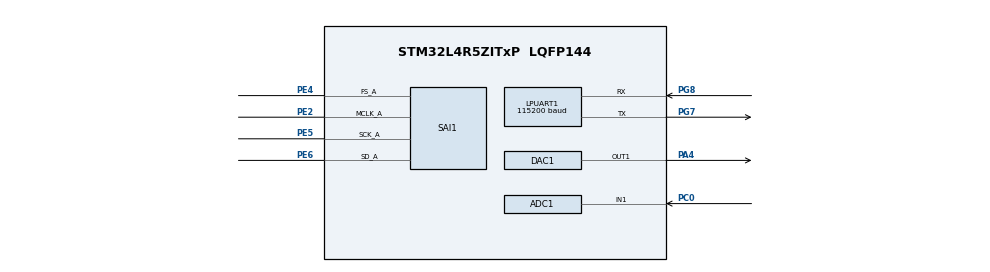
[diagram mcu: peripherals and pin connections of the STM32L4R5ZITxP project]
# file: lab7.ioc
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ADC1.Channel-0\#ChannelRegularConversion=ADC_CHANNEL_1
ADC1.ClockPrescaler=ADC_CLOCK_ASYNC_DIV2
ADC1.ExternalTrigConv=ADC_EXTERNALTRIG_T1_TRGO
ADC1.ExternalTrigConvEdge=ADC_EXTERNALTRIGCONVEDGE_RISING
ADC1.NbrOfConversionFlag=1
ADC1.OffsetNumber-0\#ChannelRegularConversion=ADC_OFFSET_NONE
ADC1.Rank-0\#ChannelRegularConversion=1
ADC1.SamplingTime-0\#ChannelRegularConversion=ADC_SAMPLETIME_640CYCLES_5
ADC1.master=1
Dma.ADC1.0.Direction=DMA_PERIPH_TO_MEMORY
Dma.ADC1.0.EventEnable=DISABLE
Dma.ADC1.0.Instance=DMA1_Channel1
Dma.ADC1.0.MemDataAlignment=DMA_MDATAALIGN_HALFWORD
Dma.ADC1.0.MemInc=DMA_MINC_ENABLE
Dma.ADC1.0.Mode=DMA_CIRCULAR
Dma.ADC1.0.PeriphDataAlignment=DMA_PDATAALIGN_HALFWORD
Dma.ADC1.0.PeriphInc=DMA_PINC_DISABLE
Dma.ADC1.0.Polarity=HAL_DMAMUX_REQUEST_GEN_RISING
Dma.ADC1.0.Priority=DMA_PRIORITY_VERY_HIGH
Dma.ADC1.0.RequestNumber=1
Dma.ADC1.0.SignalID=NONE
Dma.ADC1.0.SyncEnable=DISABLE
Dma.ADC1.0.SyncPolarity=HAL_DMAMUX_SYNC_NO_EVENT
Dma.ADC1.0.SyncRequestNumber=1
Dma.ADC1.0.SyncSignalID=NONE
Dma.Request0=ADC1
LPUART1.BaudRate=115200
LPUART1.WordLength=UART_WORDLENGTH_8B
Mcu.Family=STM32L4
Mcu.Name=STM32L4R5ZITxP
Mcu.Package=LQFP144
NVIC.DMA1_Channel1_IRQn=true\:0\:0\:false\:false\:true\:false\:true\:true
NVIC.PriorityGroup=NVIC_PRIORITYGROUP_4
PA0.Signal=S_TIM2_CH1
PA1.Signal=ADCx_IN6
PA10.Signal=USB_OTG_FS_ID
PA13\ (JTMS/SWDIO).Signal=SYS_JTMS-SWDIO
PA14\ (JTCK/SWCLK).Signal=SYS_JTCK-SWCLK
PA3.Signal=ADCx_IN8
PA4.Signal=COMP_DAC11_group
PA5.Signal=SPI1_SCK
PA6.Signal=SPI1_MISO
PA7.Signal=SPI1_MOSI
PA8.Signal=USB_OTG_FS_SOF
PA9.Signal=USB_OTG_FS_VBUS
PB0.Signal=S_TIM3_CH3
PB1.Signal=ADCx_IN16
PB10.Signal=S_TIM2_CH3
PB12.Signal=SAI2_FS_A
PB13.Signal=SAI2_SCK_A
PB14.Signal=S_TIM15_CH1
PB15.Signal=SAI2_SD_A
PB2.Signal=COMP1_INP
PB3\ (JTDO/TRACESWO).Signal=SPI3_SCK
PB4\ (NJTRST).Signal=SPI3_MISO
PB5.Signal=SPI3_MOSI
PB6.Signal=COMP2_INP
PB8.Signal=I2C1_SCL
PB9.Signal=I2C1_SDA
PC0.Signal=ADCx_IN1
PC1.Signal=ADCx_IN2
PC10.Signal=SDMMC1_D2
PC11.Signal=SDMMC1_D3
PC12.Signal=SDMMC1_CK
PC13.Signal=SYS_WKUP2
PC14-OSC32_IN\ (PC14).Signal=RCC_OSC32_IN
PC15-OSC32_OUT\ (PC15).Signal=RCC_OSC32_OUT
PC2.Signal=ADCx_IN3
PC3.Signal=ADCx_IN4
PC4.Signal=ADCx_IN13
PC5.Signal=ADCx_IN14
PC6.Signal=SAI2_MCLK_A
PC7.Signal=S_TIM3_CH2
PC8.Signal=SDMMC1_D0
PC9.Signal=SDMMC1_D1
PD0.Signal=CAN1_RX
PD14.Signal=S_TIM4_CH3
PD15.Signal=S_TIM4_CH4
PD2.Signal=SDMMC1_CMD
PD3.Signal=USART2_CTS
PD4.Signal=USART2_RTS
PD5.Signal=USART2_TX
PD6.Signal=USART2_RX
PD8.Signal=USART3_TX
PD9.Signal=USART3_RX
PE0.Signal=S_TIM4_ETR
PE10.Signal=TIM1_CH2N
PE11.Signal=S_TIM1_CH2
PE12.Signal=TIM1_CH3N
PE13.Signal=S_TIM1_CH3
PE14.Signal=TIM1_BKIN2
PE15.Signal=TIM1_BKIN
PE2.Mode=SAI_A_MasterWithClock
PE2.Signal=SAI1_MCLK_A
PE3.Signal=SAI1_SD_B
PE4.Mode=SAI_A_MasterWithClock
PE4.Signal=SAI1_FS_A
PE5.Mode=SAI_A_MasterWithClock
PE5.Signal=SAI1_SCK_A
PE6.Mode=SAI_A_MasterWithClock
PE6.Signal=SAI1_SD_A
PE7.Signal=S_TIM1_ETR
PE8.Signal=TIM1_CH1N
PE9.Signal=S_TIM1_CH1
PF0.Signal=I2C2_SDA
PF1.Signal=I2C2_SCL
PF2.Signal=I2C2_SMBA
PF7.Signal=SAI1_MCLK_B
PG7.Mode=Asynchronous
PG7.Signal=LPUART1_TX
PG8.Mode=Asynchronous
PG8.Signal=LPUART1_RX
PH0-OSC_IN\ (PH0).Signal=RCC_OSC_IN
PH1-OSC_OUT\ (PH1).Signal=RCC_OSC_OUT
ProjectManager.HeapSize=0x200
ProjectManager.StackSize=0x400
ProjectManager.TargetToolchain=STM32CubeIDE
RCC.ADCFreq_Value=32000000
RCC.HSE_VALUE=8000000
RCC.HSI48_VALUE=48000000
RCC.HSI_VALUE=16000000
RCC.LSE_VALUE=32768
RCC.MSI_VALUE=4000000
RCC.PLLSAI1N=16
RCC.USBFreq_Value=32000000
RCC.VCOOutputFreq_Value=32000000
SAI1.AudioFrequency-SAI_A_MasterWithClock=SAI_AUDIO_FREQUENCY_192K
SAI1.ErrorAudioFreq-SAI_A_MasterWithClock=-34.89 %
SAI1.InitProtocol-SAI_A_MasterWithClock=Enable
SAI1.Instance-SAI_A_MasterWithClock=SAI$Index_Block_A
SAI1.MClockEnable-SAI_A_MasterWithClock=SAI_MASTERCLOCK_ENABLE
SAI1.RealAudioFreq-SAI_A_MasterWithClock=125.0 KHz
SAI1.VirtualMode-SAI_A_MasterWithClock=VM_MASTER
SAI1.VirtualProtocol-SAI_A_BASIC=VM_BASIC_PROTOCOL
SH.ADCx_IN1.0=ADC1_IN1,IN1-Single-Ended
SH.ADCx_IN13.0=ADC1_IN13
SH.ADCx_IN14.0=ADC1_IN14
SH.ADCx_IN16.0=ADC1_IN16
SH.ADCx_IN2.0=ADC1_IN2
SH.ADCx_IN3.0=ADC1_IN3
SH.ADCx_IN4.0=ADC1_IN4
SH.ADCx_IN6.0=ADC1_IN6
SH.ADCx_IN8.0=ADC1_IN8
SH.COMP_DAC11_group.0=DAC1_OUT1,DAC_OUT1
SH.S_TIM15_CH1.0=TIM15_CH1
SH.S_TIM1_CH1.0=TIM1_CH1
SH.S_TIM1_CH2.0=TIM1_CH2
SH.S_TIM1_CH3.0=TIM1_CH3
SH.S_TIM1_ETR.0=TIM1_ETR
SH.S_TIM2_CH1.0=TIM2_CH1
SH.S_TIM2_CH3.0=TIM2_CH3
SH.S_TIM3_CH2.0=TIM3_CH2
SH.S_TIM3_CH3.0=TIM3_CH3
SH.S_TIM4_CH3.0=TIM4_CH3
SH.S_TIM4_CH4.0=TIM4_CH4
SH.S_TIM4_ETR.0=TIM4_ETR
STMicroelectronics.X-CUBE-ALGOBUILD.1.3.0.LibraryCcDSPOoLibraryJjDSPOoLibrary=true
TIM1.Channel-Output\ Compare1\ No\ Output=TIM_CHANNEL_1
TIM1.Period=9
TIM1.Prescaler=97
TIM1.Pulse-Output\ Compare1\ No\ Output=5
TIM1.TIM_MasterOutputTrigger=TIM_TRGO_UPDATE
VP_SAI1_VP_$IpInstance_SAIA_SAI_BASIC.Mode=SAI_A_BASIC
VP_STMicroelectronics.X-CUBE-ALGOBUILD_VS_DSPOoLibraryJjLibrary_1.3.0_1.3.0.Mode=DSPOoLibraryJjLibrary
VP_TIM1_VS_ClockSourceINT.Mode=Internal
VP_TIM1_VS_no_output1.Mode=Output Compare1 No Output
board=NUCLEO-L4R5ZI-P

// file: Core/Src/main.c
/* USER CODE BEGIN Header */
/**
  ******************************************************************************
  * @file           : main.c
  * @brief          : Main program body
  ******************************************************************************
  * @attention
  *
  * Copyright (c) 2024 STMicroelectronics.
  * All rights reserved.
  *
  * This software is licensed under terms that can be found in the LICENSE file
  * in the root directory of this software component.
  * If no LICENSE file comes with this software, it is provided AS-IS.
  *
  ******************************************************************************
  */
/* USER CODE END Header */
#include "main.h"

/* USER CODE BEGIN Includes */

#define ARM_MATH_CM4
#include "arm_math.h"
#include "math.h"
#include <stdint.h>

#define BUFFER_LENGTH 4096
#define SAMPLING_RATE 4081.6

/* USER CODE END Includes */

ADC_HandleTypeDef hadc1;
DMA_HandleTypeDef hdma_adc1;

DAC_HandleTypeDef hdac1;

UART_HandleTypeDef hlpuart1;

SAI_HandleTypeDef hsai_BlockA1;

TIM_HandleTypeDef htim1;

/* USER CODE BEGIN PV */

arm_rfft_fast_instance_f32 fftHandler;
volatile convFlag;

/* USER CODE END PV */

void SystemClock_Config(void);
void PeriphCommonClock_Config(void);
static void MX_GPIO_Init(void);
static void MX_DMA_Init(void);
static void MX_ADC1_Init(void);
static void MX_DAC1_Init(void);
static void MX_LPUART1_UART_Init(void);
static void MX_SAI1_Init(void);
static void MX_TIM1_Init(void);

/* USER CODE BEGIN 0 */

void HAL_ADC_ConvCpltCallback(ADC_HandleTypeDef* hadc) {

	convFlag = 1;

}

void maxIndex(float32_t * fftStart, uint32_t * maxIndices, int start, int length) {

	int maxVal, maxInd;

	fftStart += start;

	for(int i = 0; i < 8; ++i){

		arm_max_f32(fftStart, length, &maxVal, &maxInd);
		maxIndices[i] = maxInd + start;

		//sample without replacement
		fftStart[maxInd] = 0;
	}

}

void apply_hanning_window(float32_t * signal, uint32_t length){
	for (int i = 0; i < length; ++i){
		float32_t han_value = 0.5f * (1.0f - cosf(2 * PI * i / (length - 1)));
		signal[i] *= han_value;
	}
}

void find_peaks(float32_t* data, uint32_t length, int32_t* peaks, uint32_t* num_peaks) {
    float32_t threshold = 0; // Adjust if needed
    *num_peaks = 0;

    for (uint32_t i = 1; i < length - 1; ++i) {
        if (data[i] > threshold && data[i] > data[i-1] && data[i] > data[i+1]) {
            peaks[*num_peaks] = i;
            (*num_peaks)++;
        }
    }
}

void autocorrelate(float32_t* x, uint32_t N, float32_t* autocorrelation) {

    arm_rfft_fast_instance_f32 fftInstance;

    // Initialize the FFT instance
    arm_rfft_fast_init_f32(&fftInstance, N);

    float32_t output[N];
    arm_rfft_fast_f32(&fftInstance, x, output, 0);

    float32_t power_spectrum[N/2];
    //arm_cmplx_mag_squared_f32(output, power_spectrum, N/2);
    power_spectrum[0] = output[0] * output[0];
    power_spectrum[1] = output[1] * output[1];

    // Rest of the frequency bins (upto N/2)
    for (uint32_t i = 1; i < N / 2; ++i) {
        power_spectrum[2 * i] = output[2 * i] * output[2 * i] + output[2 * i + 1] * output[2 * i + 1]; // Real part
        power_spectrum[2 * i + 1] = 0; // Imaginary part is 0
    }

    arm_rfft_fast_f32(&fftInstance, power_spectrum, autocorrelation, 1);

}

/* USER CODE END 0 */

int main(void)
{
  /* USER CODE BEGIN 1 */

	convFlag = 0;

	float32_t string_freqs[6] = {329.63, 246.94, 196.0, 146.83, 110.0, 82.41};
	float32_t measured_freqs[6];

  /* USER CODE END 1 */

  /* MCU Configuration--------------------------------------------------------*/

  /* Reset of all peripherals, Initializes the Flash interface and the Systick. */
  HAL_Init();

  /* Configure the system clock */
  SystemClock_Config();

/* Configure the peripherals common clocks */
  PeriphCommonClock_Config();

  /* Initialize all configured peripherals */
  MX_GPIO_Init();
  MX_DMA_Init();
  MX_ADC1_Init();
  MX_DAC1_Init();
  MX_LPUART1_UART_Init();
  MX_SAI1_Init();
  MX_TIM1_Init();
  /* USER CODE BEGIN 2 */

  //arm_rfft_fast_init_f32(&fftHandler, BUFFER_LENGTH);

  float32_t signal[BUFFER_LENGTH];
  float32_t FFT_OUT[BUFFER_LENGTH];
  float32_t autocorrelation[BUFFER_LENGTH];

  uint32_t LOWEST_PERIOD = SAMPLING_RATE / 440; //440hz max
  uint32_t HIGHEST_PERIOD = SAMPLING_RATE / 50; //60 Hz min (change to 50)

   volatile uint32_t ADC_BUFFER[BUFFER_LENGTH];

//  float32_t freq_resolution = (float32_t)SAMPLING_RATE / (float32_t)BUFFER_LENGTH;

  HAL_TIM_Base_Start_IT(&htim1);

  /* USER CODE END 2 */

  /* Infinite loop */
  /* USER CODE BEGIN WHILE */
  while (1)
  {

	  HAL_ADC_Start_DMA(&hadc1, (uint16_t *) &ADC_BUFFER, BUFFER_LENGTH);

	  //Test signal with harmonics
//	  for (int i = 0; i < BUFFER_LENGTH; ++i){
//		  float32_t r = (float32_t)i / (float32_t)SAMPLING_RATE;
//		  r *= 3.14158265359 * 2;
//		  r *= 110; //Hz
//
//		  float32_t s = sin(r); //+ sin(r*4) * 0.5 + sin(r*3) * 0.25;
//		  signal[i] = s;
//	  }

	  while(convFlag == 0) {;}

	  for(int i = 0; i < BUFFER_LENGTH; i++) {
		  signal[i] = (double)(ADC_BUFFER[i]);
	  }

	  apply_hanning_window(&signal, BUFFER_LENGTH);

	  autocorrelate(signal, BUFFER_LENGTH,  autocorrelation);

	  uint32_t peaks[BUFFER_LENGTH/2];
	  uint32_t num_peaks = 0;

	  find_peaks(autocorrelation, BUFFER_LENGTH/2, peaks, &num_peaks); //returns peak indices

	  float32_t freq = 0.0f;
	     if (num_peaks > 0) {
	         // Get the highest valid peak
	         uint32_t max_peak_index = 0;
	         float32_t max_value = 0;
	         for (uint32_t i = 0; i < num_peaks; ++i) {
	             int32_t peak = peaks[i];
	             //peak greater than lowest period and smaller than largest possible period
	             if (peak > LOWEST_PERIOD && peak < HIGHEST_PERIOD) { //if valid peak
	                 if (autocorrelation[peak] > max_value) {
	                     max_peak_index = peak;
	                     max_value = autocorrelation[peak];
	                 }
	             }
	         }
	         if (max_value > 0) {
	             freq = (float32_t)SAMPLING_RATE / max_peak_index;
	         }
	     }

	     float32_t fundamental_freq = freq;

	  convFlag = 0;

    /* USER CODE END WHILE */

  }
}

void SystemClock_Config(void)
{
  RCC_OscInitTypeDef RCC_OscInitStruct = {0};
  RCC_ClkInitTypeDef RCC_ClkInitStruct = {0};

  /** Configure the main internal regulator output voltage
  */
  if (HAL_PWREx_ControlVoltageScaling(PWR_REGULATOR_VOLTAGE_SCALE1) != HAL_OK)
  {
    Error_Handler();
  }

  /** Initializes the RCC Oscillators according to the specified parameters
  * in the RCC_OscInitTypeDef structure.
  */
  RCC_OscInitStruct.OscillatorType = RCC_OSCILLATORTYPE_MSI;
  RCC_OscInitStruct.MSIState = RCC_MSI_ON;
  RCC_OscInitStruct.MSICalibrationValue = 0;
  RCC_OscInitStruct.MSIClockRange = RCC_MSIRANGE_6;
  RCC_OscInitStruct.PLL.PLLState = RCC_PLL_NONE;
  if (HAL_RCC_OscConfig(&RCC_OscInitStruct) != HAL_OK)
  {
    Error_Handler();
  }

  /** Initializes the CPU, AHB and APB buses clocks
  */
  RCC_ClkInitStruct.ClockType = RCC_CLOCKTYPE_HCLK|RCC_CLOCKTYPE_SYSCLK
                              |RCC_CLOCKTYPE_PCLK1|RCC_CLOCKTYPE_PCLK2;
  RCC_ClkInitStruct.SYSCLKSource = RCC_SYSCLKSOURCE_MSI;
  RCC_ClkInitStruct.AHBCLKDivider = RCC_SYSCLK_DIV1;
  RCC_ClkInitStruct.APB1CLKDivider = RCC_HCLK_DIV1;
  RCC_ClkInitStruct.APB2CLKDivider = RCC_HCLK_DIV1;

  if (HAL_RCC_ClockConfig(&RCC_ClkInitStruct, FLASH_LATENCY_0) != HAL_OK)
  {
    Error_Handler();
  }
}

void PeriphCommonClock_Config(void)
{
  RCC_PeriphCLKInitTypeDef PeriphClkInit = {0};

  /** Initializes the peripherals clock
  */
  PeriphClkInit.PeriphClockSelection = RCC_PERIPHCLK_SAI1|RCC_PERIPHCLK_ADC;
  PeriphClkInit.Sai1ClockSelection = RCC_SAI1CLKSOURCE_PLLSAI1;
  PeriphClkInit.AdcClockSelection = RCC_ADCCLKSOURCE_PLLSAI1;
  PeriphClkInit.PLLSAI1.PLLSAI1Source = RCC_PLLSOURCE_MSI;
  PeriphClkInit.PLLSAI1.PLLSAI1M = 1;
  PeriphClkInit.PLLSAI1.PLLSAI1N = 16;
  PeriphClkInit.PLLSAI1.PLLSAI1P = RCC_PLLP_DIV2;
  PeriphClkInit.PLLSAI1.PLLSAI1Q = RCC_PLLQ_DIV2;
  PeriphClkInit.PLLSAI1.PLLSAI1R = RCC_PLLR_DIV2;
  PeriphClkInit.PLLSAI1.PLLSAI1ClockOut = RCC_PLLSAI1_SAI1CLK|RCC_PLLSAI1_ADC1CLK;
  if (HAL_RCCEx_PeriphCLKConfig(&PeriphClkInit) != HAL_OK)
  {
    Error_Handler();
  }
}

static void MX_ADC1_Init(void)
{

  ADC_ChannelConfTypeDef sConfig = {0};

  /** Common config
  */
  hadc1.Instance = ADC1;
  hadc1.Init.ClockPrescaler = ADC_CLOCK_ASYNC_DIV2;
  hadc1.Init.Resolution = ADC_RESOLUTION_12B;
  hadc1.Init.DataAlign = ADC_DATAALIGN_RIGHT;
  hadc1.Init.ScanConvMode = ADC_SCAN_DISABLE;
  hadc1.Init.EOCSelection = ADC_EOC_SINGLE_CONV;
  hadc1.Init.LowPowerAutoWait = DISABLE;
  hadc1.Init.ContinuousConvMode = DISABLE;
  hadc1.Init.NbrOfConversion = 1;
  hadc1.Init.DiscontinuousConvMode = DISABLE;
  hadc1.Init.ExternalTrigConv = ADC_EXTERNALTRIG_T1_TRGO;
  hadc1.Init.ExternalTrigConvEdge = ADC_EXTERNALTRIGCONVEDGE_RISING;
  hadc1.Init.DMAContinuousRequests = DISABLE;
  hadc1.Init.Overrun = ADC_OVR_DATA_PRESERVED;
  hadc1.Init.OversamplingMode = DISABLE;
  if (HAL_ADC_Init(&hadc1) != HAL_OK)
  {
    Error_Handler();
  }

  /** Configure Regular Channel
  */
  sConfig.Channel = ADC_CHANNEL_1;
  sConfig.Rank = ADC_REGULAR_RANK_1;
  sConfig.SamplingTime = ADC_SAMPLETIME_640CYCLES_5;
  sConfig.SingleDiff = ADC_SINGLE_ENDED;
  sConfig.OffsetNumber = ADC_OFFSET_NONE;
  sConfig.Offset = 0;
  if (HAL_ADC_ConfigChannel(&hadc1, &sConfig) != HAL_OK)
  {
    Error_Handler();
  }

}

static void MX_DAC1_Init(void)
{

  DAC_ChannelConfTypeDef sConfig = {0};

  /** DAC Initialization
  */
  hdac1.Instance = DAC1;
  if (HAL_DAC_Init(&hdac1) != HAL_OK)
  {
    Error_Handler();
  }

  /** DAC channel OUT1 config
  */
  sConfig.DAC_SampleAndHold = DAC_SAMPLEANDHOLD_DISABLE;
  sConfig.DAC_Trigger = DAC_TRIGGER_NONE;
  sConfig.DAC_HighFrequency = DAC_HIGH_FREQUENCY_INTERFACE_MODE_DISABLE;
  sConfig.DAC_OutputBuffer = DAC_OUTPUTBUFFER_ENABLE;
  sConfig.DAC_ConnectOnChipPeripheral = DAC_CHIPCONNECT_DISABLE;
  sConfig.DAC_UserTrimming = DAC_TRIMMING_FACTORY;
  if (HAL_DAC_ConfigChannel(&hdac1, &sConfig, DAC_CHANNEL_1) != HAL_OK)
  {
    Error_Handler();
  }

}

static void MX_LPUART1_UART_Init(void)
{

  hlpuart1.Instance = LPUART1;
  hlpuart1.Init.BaudRate = 115200;
  hlpuart1.Init.WordLength = UART_WORDLENGTH_8B;
  hlpuart1.Init.StopBits = UART_STOPBITS_1;
  hlpuart1.Init.Parity = UART_PARITY_NONE;
  hlpuart1.Init.Mode = UART_MODE_TX_RX;
  hlpuart1.Init.HwFlowCtl = UART_HWCONTROL_NONE;
  hlpuart1.Init.OneBitSampling = UART_ONE_BIT_SAMPLE_DISABLE;
  hlpuart1.Init.ClockPrescaler = UART_PRESCALER_DIV1;
  hlpuart1.AdvancedInit.AdvFeatureInit = UART_ADVFEATURE_NO_INIT;
  hlpuart1.FifoMode = UART_FIFOMODE_DISABLE;
  if (HAL_UART_Init(&hlpuart1) != HAL_OK)
  {
    Error_Handler();
  }
  if (HAL_UARTEx_SetTxFifoThreshold(&hlpuart1, UART_TXFIFO_THRESHOLD_1_8) != HAL_OK)
  {
    Error_Handler();
  }
  if (HAL_UARTEx_SetRxFifoThreshold(&hlpuart1, UART_RXFIFO_THRESHOLD_1_8) != HAL_OK)
  {
    Error_Handler();
  }
  if (HAL_UARTEx_DisableFifoMode(&hlpuart1) != HAL_OK)
  {
    Error_Handler();
  }

}

static void MX_SAI1_Init(void)
{

  hsai_BlockA1.Instance = SAI1_Block_A;
  hsai_BlockA1.Init.AudioMode = SAI_MODEMASTER_TX;
  hsai_BlockA1.Init.Synchro = SAI_ASYNCHRONOUS;
  hsai_BlockA1.Init.OutputDrive = SAI_OUTPUTDRIVE_DISABLE;
  hsai_BlockA1.Init.NoDivider = SAI_MASTERDIVIDER_ENABLE;
  hsai_BlockA1.Init.FIFOThreshold = SAI_FIFOTHRESHOLD_EMPTY;
  hsai_BlockA1.Init.AudioFrequency = SAI_AUDIO_FREQUENCY_192K;
  hsai_BlockA1.Init.SynchroExt = SAI_SYNCEXT_DISABLE;
  hsai_BlockA1.Init.MonoStereoMode = SAI_STEREOMODE;
  hsai_BlockA1.Init.CompandingMode = SAI_NOCOMPANDING;
  hsai_BlockA1.Init.TriState = SAI_OUTPUT_NOTRELEASED;
  if (HAL_SAI_InitProtocol(&hsai_BlockA1, SAI_I2S_STANDARD, SAI_PROTOCOL_DATASIZE_16BIT, 2) != HAL_OK)
  {
    Error_Handler();
  }

}

static void MX_TIM1_Init(void)
{

  TIM_ClockConfigTypeDef sClockSourceConfig = {0};
  TIM_MasterConfigTypeDef sMasterConfig = {0};
  TIM_OC_InitTypeDef sConfigOC = {0};
  TIM_BreakDeadTimeConfigTypeDef sBreakDeadTimeConfig = {0};

  htim1.Instance = TIM1;
  htim1.Init.Prescaler = 97;
  htim1.Init.CounterMode = TIM_COUNTERMODE_UP;
  htim1.Init.Period = 9;
  htim1.Init.ClockDivision = TIM_CLOCKDIVISION_DIV1;
  htim1.Init.RepetitionCounter = 0;
  htim1.Init.AutoReloadPreload = TIM_AUTORELOAD_PRELOAD_DISABLE;
  if (HAL_TIM_Base_Init(&htim1) != HAL_OK)
  {
    Error_Handler();
  }
  sClockSourceConfig.ClockSource = TIM_CLOCKSOURCE_INTERNAL;
  if (HAL_TIM_ConfigClockSource(&htim1, &sClockSourceConfig) != HAL_OK)
  {
    Error_Handler();
  }
  if (HAL_TIM_OC_Init(&htim1) != HAL_OK)
  {
    Error_Handler();
  }
  sMasterConfig.MasterOutputTrigger = TIM_TRGO_UPDATE;
  sMasterConfig.MasterOutputTrigger2 = TIM_TRGO2_RESET;
  sMasterConfig.MasterSlaveMode = TIM_MASTERSLAVEMODE_DISABLE;
  if (HAL_TIMEx_MasterConfigSynchronization(&htim1, &sMasterConfig) != HAL_OK)
  {
    Error_Handler();
  }
  sConfigOC.OCMode = TIM_OCMODE_TIMING;
  sConfigOC.Pulse = 5;
  sConfigOC.OCPolarity = TIM_OCPOLARITY_HIGH;
  sConfigOC.OCNPolarity = TIM_OCNPOLARITY_HIGH;
  sConfigOC.OCFastMode = TIM_OCFAST_DISABLE;
  sConfigOC.OCIdleState = TIM_OCIDLESTATE_RESET;
  sConfigOC.OCNIdleState = TIM_OCNIDLESTATE_RESET;
  if (HAL_TIM_OC_ConfigChannel(&htim1, &sConfigOC, TIM_CHANNEL_1) != HAL_OK)
  {
    Error_Handler();
  }
  sBreakDeadTimeConfig.OffStateRunMode = TIM_OSSR_DISABLE;
  sBreakDeadTimeConfig.OffStateIDLEMode = TIM_OSSI_DISABLE;
  sBreakDeadTimeConfig.LockLevel = TIM_LOCKLEVEL_OFF;
  sBreakDeadTimeConfig.DeadTime = 0;
  sBreakDeadTimeConfig.BreakState = TIM_BREAK_DISABLE;
  sBreakDeadTimeConfig.BreakPolarity = TIM_BREAKPOLARITY_HIGH;
  sBreakDeadTimeConfig.BreakFilter = 0;
  sBreakDeadTimeConfig.Break2State = TIM_BREAK2_DISABLE;
  sBreakDeadTimeConfig.Break2Polarity = TIM_BREAK2POLARITY_HIGH;
  sBreakDeadTimeConfig.Break2Filter = 0;
  sBreakDeadTimeConfig.AutomaticOutput = TIM_AUTOMATICOUTPUT_DISABLE;
  if (HAL_TIMEx_ConfigBreakDeadTime(&htim1, &sBreakDeadTimeConfig) != HAL_OK)
  {
    Error_Handler();
  }
  HAL_TIM_MspPostInit(&htim1);

}

static void MX_DMA_Init(void)
{

  /* DMA controller clock enable */
  __HAL_RCC_DMAMUX1_CLK_ENABLE();
  __HAL_RCC_DMA1_CLK_ENABLE();

  /* DMA interrupt init */
  /* DMA1_Channel1_IRQn interrupt configuration */
  HAL_NVIC_SetPriority(DMA1_Channel1_IRQn, 0, 0);
  HAL_NVIC_EnableIRQ(DMA1_Channel1_IRQn);
  /* DMAMUX1_OVR_IRQn interrupt configuration */
  HAL_NVIC_SetPriority(DMAMUX1_OVR_IRQn, 0, 0);
  HAL_NVIC_EnableIRQ(DMAMUX1_OVR_IRQn);

}

static void MX_GPIO_Init(void)
{
  GPIO_InitTypeDef GPIO_InitStruct = {0};

  /* GPIO Ports Clock Enable */
  __HAL_RCC_GPIOE_CLK_ENABLE();
  __HAL_RCC_GPIOC_CLK_ENABLE();
  __HAL_RCC_GPIOF_CLK_ENABLE();
  __HAL_RCC_GPIOH_CLK_ENABLE();
  __HAL_RCC_GPIOA_CLK_ENABLE();
  __HAL_RCC_GPIOB_CLK_ENABLE();
  __HAL_RCC_GPIOD_CLK_ENABLE();
  __HAL_RCC_GPIOG_CLK_ENABLE();
  HAL_PWREx_EnableVddIO2();

  /*Configure GPIO pins : PF0 PF1 PF2 */
  GPIO_InitStruct.Pin = GPIO_PIN_0|GPIO_PIN_1|GPIO_PIN_2;
  GPIO_InitStruct.Mode = GPIO_MODE_AF_OD;
  GPIO_InitStruct.Pull = GPIO_NOPULL;
  GPIO_InitStruct.Speed = GPIO_SPEED_FREQ_VERY_HIGH;
  GPIO_InitStruct.Alternate = GPIO_AF4_I2C2;
  HAL_GPIO_Init(GPIOF, &GPIO_InitStruct);

  /*Configure GPIO pin : PA0 */
  GPIO_InitStruct.Pin = GPIO_PIN_0;
  GPIO_InitStruct.Mode = GPIO_MODE_AF_PP;
  GPIO_InitStruct.Pull = GPIO_NOPULL;
  GPIO_InitStruct.Speed = GPIO_SPEED_FREQ_LOW;
  GPIO_InitStruct.Alternate = GPIO_AF1_TIM2;
  HAL_GPIO_Init(GPIOA, &GPIO_InitStruct);

  /*Configure GPIO pins : PA5 PA6 PA7 */
  GPIO_InitStruct.Pin = GPIO_PIN_5|GPIO_PIN_6|GPIO_PIN_7;
  GPIO_InitStruct.Mode = GPIO_MODE_AF_PP;
  GPIO_InitStruct.Pull = GPIO_NOPULL;
  GPIO_InitStruct.Speed = GPIO_SPEED_FREQ_VERY_HIGH;
  GPIO_InitStruct.Alternate = GPIO_AF5_SPI1;
  HAL_GPIO_Init(GPIOA, &GPIO_InitStruct);

  /*Configure GPIO pin : PB0 */
  GPIO_InitStruct.Pin = GPIO_PIN_0;
  GPIO_InitStruct.Mode = GPIO_MODE_AF_PP;
  GPIO_InitStruct.Pull = GPIO_NOPULL;
  GPIO_InitStruct.Speed = GPIO_SPEED_FREQ_LOW;
  GPIO_InitStruct.Alternate = GPIO_AF2_TIM3;
  HAL_GPIO_Init(GPIOB, &GPIO_InitStruct);

  /*Configure GPIO pins : PB2 PB6 */
  GPIO_InitStruct.Pin = GPIO_PIN_2|GPIO_PIN_6;
  GPIO_InitStruct.Mode = GPIO_MODE_ANALOG;
  GPIO_InitStruct.Pull = GPIO_NOPULL;
  HAL_GPIO_Init(GPIOB, &GPIO_InitStruct);

  /*Configure GPIO pin : PB10 */
  GPIO_InitStruct.Pin = GPIO_PIN_10;
  GPIO_InitStruct.Mode = GPIO_MODE_AF_PP;
  GPIO_InitStruct.Pull = GPIO_NOPULL;
  GPIO_InitStruct.Speed = GPIO_SPEED_FREQ_LOW;
  GPIO_InitStruct.Alternate = GPIO_AF1_TIM2;
  HAL_GPIO_Init(GPIOB, &GPIO_InitStruct);

  /*Configure GPIO pins : PB12 PB13 PB15 */
  GPIO_InitStruct.Pin = GPIO_PIN_12|GPIO_PIN_13|GPIO_PIN_15;
  GPIO_InitStruct.Mode = GPIO_MODE_AF_PP;
  GPIO_InitStruct.Pull = GPIO_NOPULL;
  GPIO_InitStruct.Speed = GPIO_SPEED_FREQ_LOW;
  GPIO_InitStruct.Alternate = GPIO_AF13_SAI2;
  HAL_GPIO_Init(GPIOB, &GPIO_InitStruct);

  /*Configure GPIO pin : PB14 */
  GPIO_InitStruct.Pin = GPIO_PIN_14;
  GPIO_InitStruct.Mode = GPIO_MODE_AF_PP;
  GPIO_InitStruct.Pull = GPIO_NOPULL;
  GPIO_InitStruct.Speed = GPIO_SPEED_FREQ_LOW;
  GPIO_InitStruct.Alternate = GPIO_AF14_TIM15;
  HAL_GPIO_Init(GPIOB, &GPIO_InitStruct);

  /*Configure GPIO pins : PD8 PD9 */
  GPIO_InitStruct.Pin = GPIO_PIN_8|GPIO_PIN_9;
  GPIO_InitStruct.Mode = GPIO_MODE_AF_PP;
  GPIO_InitStruct.Pull = GPIO_NOPULL;
  GPIO_InitStruct.Speed = GPIO_SPEED_FREQ_VERY_HIGH;
  GPIO_InitStruct.Alternate = GPIO_AF7_USART3;
  HAL_GPIO_Init(GPIOD, &GPIO_InitStruct);

  /*Configure GPIO pins : PD14 PD15 */
  GPIO_InitStruct.Pin = GPIO_PIN_14|GPIO_PIN_15;
  GPIO_InitStruct.Mode = GPIO_MODE_AF_PP;
  GPIO_InitStruct.Pull = GPIO_NOPULL;
  GPIO_InitStruct.Speed = GPIO_SPEED_FREQ_LOW;
  GPIO_InitStruct.Alternate = GPIO_AF2_TIM4;
  HAL_GPIO_Init(GPIOD, &GPIO_InitStruct);

  /*Configure GPIO pin : PC6 */
  GPIO_InitStruct.Pin = GPIO_PIN_6;
  GPIO_InitStruct.Mode = GPIO_MODE_AF_PP;
  GPIO_InitStruct.Pull = GPIO_NOPULL;
  GPIO_InitStruct.Speed = GPIO_SPEED_FREQ_LOW;
  GPIO_InitStruct.Alternate = GPIO_AF13_SAI2;
  HAL_GPIO_Init(GPIOC, &GPIO_InitStruct);

  /*Configure GPIO pin : PC7 */
  GPIO_InitStruct.Pin = GPIO_PIN_7;
  GPIO_InitStruct.Mode = GPIO_MODE_AF_PP;
  GPIO_InitStruct.Pull = GPIO_NOPULL;
  GPIO_InitStruct.Speed = GPIO_SPEED_FREQ_LOW;
  GPIO_InitStruct.Alternate = GPIO_AF2_TIM3;
  HAL_GPIO_Init(GPIOC, &GPIO_InitStruct);

  /*Configure GPIO pins : PC8 PC9 PC10 PC11
                           PC12 */
  GPIO_InitStruct.Pin = GPIO_PIN_8|GPIO_PIN_9|GPIO_PIN_10|GPIO_PIN_11
                          |GPIO_PIN_12;
  GPIO_InitStruct.Mode = GPIO_MODE_AF_PP;
  GPIO_InitStruct.Pull = GPIO_NOPULL;
  GPIO_InitStruct.Speed = GPIO_SPEED_FREQ_VERY_HIGH;
  GPIO_InitStruct.Alternate = GPIO_AF12_SDMMC1;
  HAL_GPIO_Init(GPIOC, &GPIO_InitStruct);

  /*Configure GPIO pins : PA8 PA10 */
  GPIO_InitStruct.Pin = GPIO_PIN_8|GPIO_PIN_10;
  GPIO_InitStruct.Mode = GPIO_MODE_AF_PP;
  GPIO_InitStruct.Pull = GPIO_NOPULL;
  GPIO_InitStruct.Speed = GPIO_SPEED_FREQ_VERY_HIGH;
  GPIO_InitStruct.Alternate = GPIO_AF10_OTG_FS;
  HAL_GPIO_Init(GPIOA, &GPIO_InitStruct);

  /*Configure GPIO pin : PA9 */
  GPIO_InitStruct.Pin = GPIO_PIN_9;
  GPIO_InitStruct.Mode = GPIO_MODE_INPUT;
  GPIO_InitStruct.Pull = GPIO_NOPULL;
  HAL_GPIO_Init(GPIOA, &GPIO_InitStruct);

  /*Configure GPIO pin : PD0 */
  GPIO_InitStruct.Pin = GPIO_PIN_0;
  GPIO_InitStruct.Mode = GPIO_MODE_AF_PP;
  GPIO_InitStruct.Pull = GPIO_NOPULL;
  GPIO_InitStruct.Speed = GPIO_SPEED_FREQ_VERY_HIGH;
  GPIO_InitStruct.Alternate = GPIO_AF9_CAN1;
  HAL_GPIO_Init(GPIOD, &GPIO_InitStruct);

  /*Configure GPIO pin : PD2 */
  GPIO_InitStruct.Pin = GPIO_PIN_2;
  GPIO_InitStruct.Mode = GPIO_MODE_AF_PP;
  GPIO_InitStruct.Pull = GPIO_NOPULL;
  GPIO_InitStruct.Speed = GPIO_SPEED_FREQ_VERY_HIGH;
  GPIO_InitStruct.Alternate = GPIO_AF12_SDMMC1;
  HAL_GPIO_Init(GPIOD, &GPIO_InitStruct);

  /*Configure GPIO pins : PD3 PD4 PD5 PD6 */
  GPIO_InitStruct.Pin = GPIO_PIN_3|GPIO_PIN_4|GPIO_PIN_5|GPIO_PIN_6;
  GPIO_InitStruct.Mode = GPIO_MODE_AF_PP;
  GPIO_InitStruct.Pull = GPIO_NOPULL;
  GPIO_InitStruct.Speed = GPIO_SPEED_FREQ_VERY_HIGH;
  GPIO_InitStruct.Alternate = GPIO_AF7_USART2;
  HAL_GPIO_Init(GPIOD, &GPIO_InitStruct);

  /*Configure GPIO pins : PB3 PB4 PB5 */
  GPIO_InitStruct.Pin = GPIO_PIN_3|GPIO_PIN_4|GPIO_PIN_5;
  GPIO_InitStruct.Mode = GPIO_MODE_AF_PP;
  GPIO_InitStruct.Pull = GPIO_NOPULL;
  GPIO_InitStruct.Speed = GPIO_SPEED_FREQ_VERY_HIGH;
  GPIO_InitStruct.Alternate = GPIO_AF6_SPI3;
  HAL_GPIO_Init(GPIOB, &GPIO_InitStruct);

  /*Configure GPIO pins : PB8 PB9 */
  GPIO_InitStruct.Pin = GPIO_PIN_8|GPIO_PIN_9;
  GPIO_InitStruct.Mode = GPIO_MODE_AF_OD;
  GPIO_InitStruct.Pull = GPIO_NOPULL;
  GPIO_InitStruct.Speed = GPIO_SPEED_FREQ_VERY_HIGH;
  GPIO_InitStruct.Alternate = GPIO_AF4_I2C1;
  HAL_GPIO_Init(GPIOB, &GPIO_InitStruct);

  /*Configure GPIO pin : PE0 */
  GPIO_InitStruct.Pin = GPIO_PIN_0;
  GPIO_InitStruct.Mode = GPIO_MODE_AF_PP;
  GPIO_InitStruct.Pull = GPIO_NOPULL;
  GPIO_InitStruct.Speed = GPIO_SPEED_FREQ_LOW;
  GPIO_InitStruct.Alternate = GPIO_AF2_TIM4;
  HAL_GPIO_Init(GPIOE, &GPIO_InitStruct);

}

/* USER CODE BEGIN 4 */

#ifdef __GNUC__
#define PUTCHAR_PROTOTYPE int __io_putchar(int ch)
#else
  #define PUTCHAR_PROTOTYPE int fputc(int ch, FILE *f)
#endif /* __GNUC__ */
PUTCHAR_PROTOTYPE
{
  HAL_UART_Transmit(&hlpuart1, (uint8_t *)&ch, 1, 0xFFFF);
  return ch;
}

/* USER CODE END 4 */

void Error_Handler(void)
{
  __disable_irq();
  while (1)
  {
  }
}
